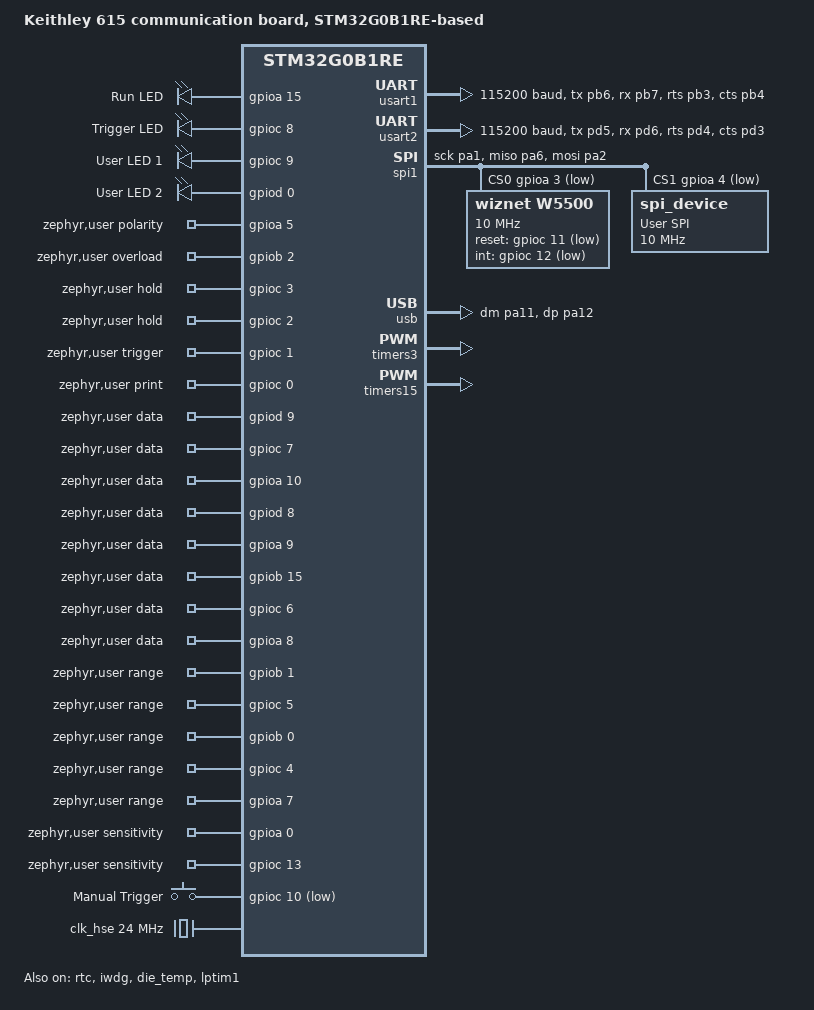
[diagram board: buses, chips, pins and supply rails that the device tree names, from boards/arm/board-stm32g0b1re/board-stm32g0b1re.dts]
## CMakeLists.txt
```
cmake_minimum_required(VERSION 3.20.0)

set(BOARD_ROOT ${CMAKE_CURRENT_SOURCE_DIR})

find_package(Zephyr REQUIRED HINTS $ENV{ZEPHYR_BASE})
project(keithley615-comm-app)

include_directories(${EXECUTABLE_NAME}
                    inc/)

target_sources(app PRIVATE
               src/main.c
               src/interface.c
               src/usb.c
               src/net.c)
```

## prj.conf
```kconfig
CONFIG_GPIO=y

# Generic networking options
CONFIG_NETWORKING=y
CONFIG_NET_IPV4=y
CONFIG_NET_IPV6=n
CONFIG_NET_UDP=y
CONFIG_NET_DHCPV4=y
CONFIG_NET_MGMT=y
CONFIG_NET_STATISTICS=y
CONFIG_NET_STATISTICS_ETHERNET=y
CONFIG_NET_STATISTICS_IPV4=y
# Sockets
CONFIG_NET_SOCKETS=y
# Logging
CONFIG_LOG=y
#CONFIG_LOG_OUTPUT_FORMAT_LINUX_TIMESTAMP=y
CONFIG_NET_LOG=y
# Network protocols
CONFIG_SNTP=y
# Net Init
#CONFIG_NET_CONFIG_NEED_IPV4=y
#CONFIG_NET_CONFIG_CLOCK_SNTP_INIT=y
#CONFIG_NET_CONFIG_SNTP_INIT_SERVER="129.6.15.29:123"

CONFIG_ENTROPY_GENERATOR=y
CONFIG_TEST_RANDOM_GENERATOR=y

# USB
CONFIG_USB_DEVICE_DRIVER=y
CONFIG_USB_DEVICE_STACK=y
CONFIG_USB_DEVICE_PRODUCT="Keithley 615 Interface"
CONFIG_USB_DEVICE_PID=0x0009
CONFIG_USB_DEVICE_LOG_LEVEL_ERR=y
CONFIG_USB_DRIVER_LOG_LEVEL_ERR=y
CONFIG_USB_DEVICE_INITIALIZE_AT_BOOT=n

CONFIG_POSIX_API=y

CONFIG_SHELL=y
CONFIG_NET_SHELL=y
```

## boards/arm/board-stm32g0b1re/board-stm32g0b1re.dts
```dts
/dts-v1/;
#include <st/g0/stm32g0b1Xe.dtsi>
#include <st/g0/stm32g0b1r(b-c-e)tx-pinctrl.dtsi>

/ {
	model = "Keithley 615 communication board, STM32G0B1RE-based";
	compatible = "st,stm32g0b1re-nucleo";

	chosen {
		zephyr,console = &usart1;
		zephyr,shell-uart = &usart1;
		zephyr,uart-mcumgr = &usart1;
		zephyr,sram = &sram0;
		zephyr,flash = &flash0;
		zephyr,code-partition = &slot0_partition;
	};

	leds {
		compatible = "gpio-leds";
		led_run {
			gpios = <&gpioa 15 GPIO_ACTIVE_HIGH>;
			label = "Run LED";
		};
		led_trigger {
			gpios = <&gpioc 8 GPIO_ACTIVE_HIGH>;
			label = "Trigger LED";
		};
		led_user1 {
			gpios = <&gpioc 9 GPIO_ACTIVE_HIGH>;
			label = "User LED 1";
		};
		led_user2 {
			gpios = <&gpiod 0 GPIO_ACTIVE_HIGH>;
			label = "User LED 2";
		};
	};

    /* Keithley 615 50-pin interface */
    /* TODO: Make separate device driver for this, so device-tree layout can
     * be cleaner. */
    zephyr,user {
        polarity-gpios    = <&gpioa  5 GPIO_ACTIVE_HIGH>;
        overload-gpios    = <&gpiob  2 GPIO_ACTIVE_HIGH>;
        hold-gpios        = <&gpioc  3 GPIO_ACTIVE_HIGH>,
                            <&gpioc  2 GPIO_ACTIVE_HIGH>;
        trigger-gpios     = <&gpioc  1 GPIO_ACTIVE_HIGH>;
        print-gpios       = <&gpioc  0 GPIO_ACTIVE_HIGH>;

        data-gpios        = <&gpiod  9 GPIO_ACTIVE_HIGH>,
                            <&gpioc  7 GPIO_ACTIVE_HIGH>,
                            <&gpioa 10 GPIO_ACTIVE_HIGH>,
                            <&gpiod  8 GPIO_ACTIVE_HIGH>,
                            <&gpioa  9 GPIO_ACTIVE_HIGH>,
                            <&gpiob 15 GPIO_ACTIVE_HIGH>,
                            <&gpioc  6 GPIO_ACTIVE_HIGH>,
                            <&gpioa  8 GPIO_ACTIVE_HIGH>,
                            <&gpiob 13 GPIO_ACTIVE_HIGH>,
                            <&gpiob 11 GPIO_ACTIVE_HIGH>,
                            <&gpiob 14 GPIO_ACTIVE_HIGH>,
                            <&gpiob 12 GPIO_ACTIVE_HIGH>,
                            <&gpiob 10 GPIO_ACTIVE_HIGH>;

        range-gpios       = <&gpiob  1 GPIO_ACTIVE_HIGH>,
                            <&gpioc  5 GPIO_ACTIVE_HIGH>,
                            <&gpiob  0 GPIO_ACTIVE_HIGH>,
                            <&gpioc  4 GPIO_ACTIVE_HIGH>,
                            <&gpioa  7 GPIO_ACTIVE_HIGH>;

        sensitivity-gpios = <&gpioa  0 GPIO_ACTIVE_HIGH>,
                            <&gpioc 13 GPIO_ACTIVE_HIGH>;
    };

	gpio_keys {
		compatible = "gpio-keys";
		button_trigger {
			label = "Manual Trigger";
			gpios = <&gpioc 10 GPIO_ACTIVE_LOW>;
		};
	};

	aliases {
		watchdog0 = &iwdg;
	};
};

uart_rs232: &usart1 {
	pinctrl-0 = <&usart1_tx_pb6  &usart1_rx_pb7
                 &usart1_rts_pb3 &usart1_cts_pb4>;
	pinctrl-names = "default";
	current-speed = <115200>;
    /* hw-flow-control */
	status = "okay";
};

uart_usb: &usart2 {
	pinctrl-0 = <&usart2_tx_pd5  &usart2_rx_pd6
                 &usart2_rts_pd4 &usart2_cts_pd3>;
	pinctrl-names = "default";
	current-speed = <115200>;
    /* hw-flow-control */
	status = "okay";
};

&spi1 {
	status = "okay";
	pinctrl-0 = <&spi1_sck_pa1 &spi1_miso_pa6 &spi1_mosi_pa2>;
	pinctrl-names = "default";
    cs-gpios = <&gpioa 3 GPIO_ACTIVE_LOW>, <&gpioa 4 GPIO_ACTIVE_LOW>;

    ethernet_w5500: w5500@0 {
        compatible = "wiznet,w5500";
        label = "w5500";
        reg = <0>;
        spi-max-frequency = <10000000>;
        reset-gpios = <&gpioc 11 GPIO_ACTIVE_LOW>;
        int-gpios   = <&gpioc 12 GPIO_ACTIVE_LOW>;

        /* Random test MAC address, made static for now for ease of packet sniffing */
        local-mac-address=[ 02 08 dc b0 6f df ];
        /*zephyr,random-mac-address;*/
    };

    user_spi: spi_device@1 {
        label = "User SPI";
        reg = <1>;
        spi-max-frequency = <10000000>;
    };
};

/*&i2c1 {
	status = "okay";
	pinctrl-0 = <&i2c1_scl_pb8 &i2c1_sda_pb9>;
	pinctrl-names = "default";

    user_i2c: i2c_device@0 {
        label = "User I2C";
        reg = <0x0>;
    };
};*/

zephyr_udc0: &usb {
	pinctrl-0 = <&usb_dm_pa11 &usb_dp_pa12>;
	pinctrl-names = "default";
    disconnect-gpios = <&gpiob 5 GPIO_ACTIVE_HIGH>;
	status = "okay";

    cdc_acm_uart0: cdc_acm_uart0 {
        compatible = "zephyr,cdc-acm-uart";
        label = "CDC_ACM_0";
    };
};

/*
 * Chip-internal devices follow
 */

&clk_hse {
	clock-frequency = <DT_FREQ_M(24)>;
	status = "okay";
};

&clk_hsi {
	status = "okay";
};

&clk_hsi48 {
	status = "okay";
};


&clk_lse {
	status = "okay";
};

&clk_lsi {
	status = "okay";
};


&pll {
	div-m = <1>;
	mul-n = <8>;
	div-p = <3>;
	div-q = <3>;
	div-r = <3>;
	clocks = <&clk_hse>;
	status = "okay";
};

&rcc {
	clocks = <&pll>;
	clock-frequency = <DT_FREQ_M(64)>;
	ahb-prescaler = <1>;
	apb1-prescaler = <1>;
};



&rtc {
	clocks = <&rcc STM32_CLOCK_BUS_APB1 0x00000400>,
		     <&rcc STM32_SRC_LSE RTC_SEL(1)>;
	status = "okay";
};

&iwdg {
	status = "okay";
};

&timers3 {
	st,prescaler = <10000>;
	status = "okay";
	pwm3: pwm {
		status = "okay";
		pinctrl-0 = <&tim3_ch1_pb4>;
		pinctrl-names = "default";
	};
};

&timers15 {
	st,prescaler = <10000>;
	status = "okay";
	pwm15: pwm {
		status = "okay";
		pinctrl-0 = <&tim15_ch1_pb14>;
		pinctrl-names = "default";
	};
};



&die_temp {
	status = "okay";
};

&flash0 {
	partitions {
		compatible = "fixed-partitions";
		#address-cells = <1>;
		#size-cells = <1>;

		boot_partition: partition@0 {
			label = "mcuboot";
			reg = <0x00000000 DT_SIZE_K(48)>;
			read-only;
		};
		slot0_partition: partition@C000 {
			label = "image-0";
			reg = <0x0000C000 DT_SIZE_K(200)>;
		};
		slot1_partition: partition@3E000 {
			label = "image-1";
			reg = <0x0003E000 DT_SIZE_K(200)>;
		};
		/* final 64KiB reserved for app storage partition */
		storage_partition: partition@70000 {
			label = "storage";
			reg = <0x00070000 DT_SIZE_K(64)>;
		};
	};
};

&cpu0 {
	cpu-power-states = <&stop0 &stop1>;
};

&lptim1 {
	clocks = <&rcc STM32_CLOCK_BUS_APB1 0x80000000>,
		 <&rcc STM32_SRC_LSI LPTIM1_SEL(1)>;
	status = "okay";
};
```

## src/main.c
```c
#include <zephyr/logging/log.h>
LOG_MODULE_REGISTER(keithley615_comm, LOG_LEVEL_DBG);

#include <zephyr/kernel.h>
#include <zephyr/drivers/gpio.h>

#include "interface.h"
#include "usb.h"

static const struct gpio_dt_spec led = GPIO_DT_SPEC_GET(DT_PATH(leds, led_run), gpios);


void main(void) {
    int ret;

    if (!gpio_is_ready_dt(&led)) {
        return;
    }

    ret = gpio_pin_configure_dt(&led, GPIO_OUTPUT_ACTIVE);
    if (ret < 0) {
        return;
    }

    LOG_INF("Keithley 615 network interface board");

    if(kei_interface_init()) {
        LOG_ERR("Interface failure");
    }

    //kei_usb_init();

#define SLEEP_TIME_MS (500)
    while(1) {
        /* TODO: Create separete thread, disable printing by default. */
        //kei_interface_print();

        ret = gpio_pin_toggle_dt(&led);
        if(ret < 0) {
            return;
        }

        k_msleep(SLEEP_TIME_MS);
    }
}
```

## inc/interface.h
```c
#ifndef KEI_INTERFACE_H
#define KEI_INTERFACE_H

#include <stdint.h>

#define KEI_DATAFLAG_OVERLOAD (1U << 0)

/* Manual states a maximum rate of 24 readings per second (may be slightly
 * lower on 50 Hz units). */
#define KEI_TRIG_PERIOD_MIN 42

/**< Mode the electrometer is in. This is not available via the 50-pin connector */
typedef enum {
    KEI_MODE_NONE  = 0,
    KEI_MODE_VOLTS,
    KEI_MODE_OHMS,
    KEI_MODE_COULOMBS,
    KEI_MODE_AMPERES,
    KEI_MODE_MAX
} kei_interface_mode_e;

typedef struct {
    int16_t value;       /**< Value of reading */
    uint8_t range;       /**< Current range (power) setting - absolute value*/
    uint8_t sensitivity; /**< Current sensitivity setting */
    uint8_t flags;       /**< Flags */
} kei_interface_rawdata_t;

typedef struct {
    int32_t value;       /**< Value of reading, in micro-units, not accounting for power */
    int8_t  range;       /**< Current range (power) setting */
    uint8_t flags;       /**< Flags */
} kei_interface_data_t;

typedef enum {
    KEI_TRIGMODE_NONE  = 0,
    KEI_TRIGMODE_FREERUNNING, /**< Instrument is allowed to trigger itself */
    KEI_TRIGMODE_PERIODIC,    /**< We periodically trigger the instrument */
    KEI_TRIGMODE_MANUAL,      /**< We only trigger the instrument when a read is requested */
    KEI_TRIGMODE_MAX
} kei_interface_trigmode_e;

/**
 * @brief Initialize interface GPIOs
 */
int kei_interface_init(void);

/**
 * @brief Print the data from the last electrometer reading
 */
int kei_interface_print(void);

/**
 * @brief Configure which mode the electrometer is set to
 *
 * This mode determines how values are interpreted, in particular the range value
 *
 * @param mode Mode to which the electrometer is set to
 */
int kei_interface_set_mode(kei_interface_mode_e mode);

/**
 * @brief Get most recent data received from the electrometer
 *
 * @param data Where to store data
 */
int kei_interface_get_data(kei_interface_data_t *data);

/**
 * @brief Set trigger mode
 *
 * @param mode Desired trigger mode
 */
int kei_interface_set_trigmode(kei_interface_trigmode_e mode);

/**
 * @brief Set trigger period (not applicable in free-running mode)
 *
 * @param period_ms Desired trigger period, in milliseconds, >= 42 ms
 */
int kei_interface_set_trigperiod(uint32_t period_ms);

#endif
```

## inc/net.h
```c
#ifndef KEI_NET_H
#define KEI_NET_H

/**
 * @brief Initialize network driver
 */
int kei_net_init(void);

/**
 * @brief Get address via DHCP
 */
int kei_net_getaddr(void);

#if (CONFIG_SNTP)
/**
 * @brief Get time via SNTP
 *
 * @param time_s Where to store retrieved time in seconds
 * @param time_us Where to store microsecond time offset, if desired
 */
int kei_net_sntp(time_t *time_s, unsigned *time_us);
#endif /* (CONFIG_SNTP) */

#endif
```

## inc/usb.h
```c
#ifndef KEI_USB_H
#define KEI_USB_H

int kei_usb_init(void);

#endif
```

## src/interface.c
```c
#include <ctype.h>
#include <stdlib.h>
#include <string.h>

#include <zephyr/drivers/gpio.h>
#include <zephyr/kernel.h>
#include <zephyr/logging/log.h>
#include <zephyr/shell/shell.h>

#include "interface.h"

LOG_MODULE_REGISTER(kei_int, LOG_LEVEL_DBG);

#define ZEPHYR_USER_NODE DT_PATH(zephyr_user)

#define N_DATA_BITS        13
#define N_RANGE_BITS        5
#define N_SENSITIVITY_BITS  2

static const struct {
    struct gpio_dt_spec polarity;
    struct gpio_dt_spec overload;
    struct gpio_dt_spec trigger;
    struct gpio_dt_spec print;
    struct gpio_dt_spec hold[2];

    struct gpio_dt_spec data_bcd       [N_DATA_BITS];
    struct gpio_dt_spec range_bcd      [N_RANGE_BITS];
    struct gpio_dt_spec sensitivity_bcd[N_SENSITIVITY_BITS];
} _int_gpios = {
    .polarity = GPIO_DT_SPEC_GET(ZEPHYR_USER_NODE, polarity_gpios),
    .overload = GPIO_DT_SPEC_GET(ZEPHYR_USER_NODE, overload_gpios),
    .trigger  = GPIO_DT_SPEC_GET(ZEPHYR_USER_NODE, trigger_gpios),
    .print    = GPIO_DT_SPEC_GET(ZEPHYR_USER_NODE, print_gpios),
    .hold     = {
        GPIO_DT_SPEC_GET_BY_IDX(ZEPHYR_USER_NODE, hold_gpios, 0),
        GPIO_DT_SPEC_GET_BY_IDX(ZEPHYR_USER_NODE, hold_gpios, 1)
    },
    .data_bcd      = {
        GPIO_DT_SPEC_GET_BY_IDX(ZEPHYR_USER_NODE, data_gpios,  0),
        GPIO_DT_SPEC_GET_BY_IDX(ZEPHYR_USER_NODE, data_gpios,  1),
        GPIO_DT_SPEC_GET_BY_IDX(ZEPHYR_USER_NODE, data_gpios,  2),
        GPIO_DT_SPEC_GET_BY_IDX(ZEPHYR_USER_NODE, data_gpios,  3),
        GPIO_DT_SPEC_GET_BY_IDX(ZEPHYR_USER_NODE, data_gpios,  4),
        GPIO_DT_SPEC_GET_BY_IDX(ZEPHYR_USER_NODE, data_gpios,  5),
        GPIO_DT_SPEC_GET_BY_IDX(ZEPHYR_USER_NODE, data_gpios,  6),
        GPIO_DT_SPEC_GET_BY_IDX(ZEPHYR_USER_NODE, data_gpios,  7),
        GPIO_DT_SPEC_GET_BY_IDX(ZEPHYR_USER_NODE, data_gpios,  8),
        GPIO_DT_SPEC_GET_BY_IDX(ZEPHYR_USER_NODE, data_gpios,  9),
        GPIO_DT_SPEC_GET_BY_IDX(ZEPHYR_USER_NODE, data_gpios, 10),
        GPIO_DT_SPEC_GET_BY_IDX(ZEPHYR_USER_NODE, data_gpios, 11),
        GPIO_DT_SPEC_GET_BY_IDX(ZEPHYR_USER_NODE, data_gpios, 12)
    },
    .range_bcd      = {
        GPIO_DT_SPEC_GET_BY_IDX(ZEPHYR_USER_NODE, range_gpios,  0),
        GPIO_DT_SPEC_GET_BY_IDX(ZEPHYR_USER_NODE, range_gpios,  1),
        GPIO_DT_SPEC_GET_BY_IDX(ZEPHYR_USER_NODE, range_gpios,  2),
        GPIO_DT_SPEC_GET_BY_IDX(ZEPHYR_USER_NODE, range_gpios,  3),
        GPIO_DT_SPEC_GET_BY_IDX(ZEPHYR_USER_NODE, range_gpios,  4)
    },
    .sensitivity_bcd      = {
        GPIO_DT_SPEC_GET_BY_IDX(ZEPHYR_USER_NODE, sensitivity_gpios,  0),
        GPIO_DT_SPEC_GET_BY_IDX(ZEPHYR_USER_NODE, sensitivity_gpios,  1),
    }
};


static struct {
    kei_interface_rawdata_t last_sample;    /**< Last sample received from instrument */
    kei_interface_mode_e    mode;           /**< Current instrument mode/units */

    struct {
        kei_interface_trigmode_e mode;      /**< Current trigger mode */
        uint32_t                 period_ms; /**< Trigger period, in ms, when using periodic trigger */
    } trig;

    struct gpio_callback print_gpio_callback;

    struct k_thread  thread;

    struct k_condvar data_ready_cond;
    struct k_mutex   data_ready_mutex;
} _data;

static int kei_interface_trigger(int wait);

/**
 * @brief Read a whole value given a set of BCD inputs
 */
static int _bcd_read(const struct gpio_dt_spec *gpios, int count) {
    unsigned value = 0;
    unsigned mul   = 1;
    while(count) {
        for(unsigned bit = 0; (bit < 4) && count; bit++, count--, gpios++) {
            int pin = gpio_pin_get_dt(gpios);
            if(pin < 0) {
                return -1;
            } else if(pin) {
                value += (1U << bit) * mul;
            }
        }
        mul *= 10;
    }
    return value;
}

/**
 * @brief Callback for print line going low
 */
static void _print_callback(const struct device *dev, struct gpio_callback *cb, uint32_t pins) {
    int data        = _bcd_read(_int_gpios.data_bcd,        N_DATA_BITS);
    int range       = _bcd_read(_int_gpios.range_bcd,       N_RANGE_BITS);
    int sensitivity = _bcd_read(_int_gpios.sensitivity_bcd, N_SENSITIVITY_BITS);

    if((data < 0) || (range < 0) || (sensitivity < 0)) {
        return;
    }

    if(gpio_pin_get_dt(&_int_gpios.polarity) == 1) {
        data *= -1;
    }

    _data.last_sample.value       = data;
    _data.last_sample.range       = range;
    _data.last_sample.sensitivity = sensitivity;
    _data.last_sample.flags       = 0;
    if(gpio_pin_get_dt(&_int_gpios.overload) == 1) {
        _data.last_sample.flags  |= KEI_DATAFLAG_OVERLOAD;
    }

    /* TODO: Timestamp sample */

    k_condvar_signal(&_data.data_ready_cond);
}

K_THREAD_STACK_DEFINE(_kei_thread_stack, 1024);
static void _kei_thread_main(void *p1, void *p2, void *p3);

int kei_interface_init(void) {
    memset(&_data, 0, sizeof(_data));

    _data.trig.mode      = KEI_TRIGMODE_FREERUNNING;
    _data.trig.period_ms = 1000;

    k_condvar_init(&_data.data_ready_cond);
    k_mutex_init(&_data.data_ready_mutex);

    if(gpio_pin_configure_dt(&_int_gpios.polarity, GPIO_INPUT)           ||
       gpio_pin_configure_dt(&_int_gpios.overload, GPIO_INPUT)           ||
       gpio_pin_configure_dt(&_int_gpios.trigger,  GPIO_OUTPUT_INACTIVE) ||
       gpio_pin_configure_dt(&_int_gpios.print,    GPIO_INPUT)           ||
       gpio_pin_configure_dt(&_int_gpios.hold[0],  GPIO_OUTPUT_INACTIVE) ||
       gpio_pin_configure_dt(&_int_gpios.hold[1],  GPIO_OUTPUT_INACTIVE)) {
        return -1;
    }

    for(unsigned i = 0; i < N_DATA_BITS; i++) {
        if(gpio_pin_configure_dt(&_int_gpios.data_bcd[i], GPIO_INPUT)) {
            return -1;
        }
    }
    for(unsigned i = 0; i < N_RANGE_BITS; i++) {
        if(gpio_pin_configure_dt(&_int_gpios.range_bcd[i], GPIO_INPUT)) {
            return -1;
        }
    }
    for(unsigned i = 0; i < N_SENSITIVITY_BITS; i++) {
        if(gpio_pin_configure_dt(&_int_gpios.sensitivity_bcd[i], GPIO_INPUT)) {
            return -1;
        }
    }

    LOG_INF("GPIOs initialized");


    if(gpio_pin_interrupt_configure_dt(&_int_gpios.print, GPIO_INT_EDGE_TO_INACTIVE)) {
        LOG_ERR("Failed to enable interrupts for print pin.");
        return -1;
    }

	gpio_init_callback(&_data.print_gpio_callback, _print_callback, BIT(_int_gpios.print.pin));
	if(gpio_add_callback(_int_gpios.print.port, &_data.print_gpio_callback)) {
        LOG_ERR("Failed to add callback for print pin.");
        return -1;
    }

    LOG_INF("Print interrupt enabled");

    k_thread_create(&_data.thread, _kei_thread_stack, K_THREAD_STACK_SIZEOF(_kei_thread_stack),
                    _kei_thread_main, NULL, NULL, NULL, 6, 0, K_NO_WAIT);

    return 0;
}


static void _kei_thread_main(void *p1, void *p2, void *p3) {
    ARG_UNUSED(p1);
    ARG_UNUSED(p2);
    ARG_UNUSED(p3);

    LOG_INF("KEI thread start");

    int64_t next_trig = 0;

    while(1) {
        if(_data.trig.mode == KEI_TRIGMODE_PERIODIC) {
            int64_t ticks = k_uptime_ticks();
            if(ticks >= next_trig) {
                kei_interface_trigger(0);
                next_trig = next_trig + ((_data.trig.period_ms * CONFIG_SYS_CLOCK_TICKS_PER_SEC) / 1000);
                if(ticks >= next_trig) {
                    next_trig = ticks + ((_data.trig.period_ms * CONFIG_SYS_CLOCK_TICKS_PER_SEC) / 1000);
                }
            }

            k_sleep(K_TICKS(next_trig - ticks));
        } else {
            k_msleep(1000);
        }
    }
}

static const char *_unit_str[KEI_MODE_MAX] = {
    [KEI_MODE_NONE]     = "U",
    [KEI_MODE_VOLTS]    = "V",
    [KEI_MODE_OHMS]     = "ohms",
    [KEI_MODE_COULOMBS] = "C",
    [KEI_MODE_AMPERES]  = "A"
};


#define ABS(V) (((V) < 0) ? -(V) : (V))
int kei_interface_print(void) {
    kei_interface_data_t data;
    if (kei_interface_get_data(&data)) {
        return -1;
    }
    if(data.flags & KEI_DATAFLAG_OVERLOAD) {
        LOG_INF("data: OVERLOAD");
        return 0;
    }

    unsigned whole = ABS(data.value) / 1000000;
    unsigned frac  = (ABS(data.value) % 1000000) / 100;

    /* NOTE: If -1 < value < 0, the sign will not be present in the whole,
     * so we instead just print it explicitly. Avoiding floating-points to
     * ensure accuracy. Could also just print it as milli-whatever instead.
     * Could also use the polarity bit directly as a flag, to also enable
     * negative zero. */
    LOG_INF("data: %c%03u.%04u x 10^%+02hhd %s",
            (data.value < 0) ? '-' : '+',
            whole, frac, data.range,
            _unit_str[_data.mode]);

    return 0;
}

int kei_interface_set_mode(kei_interface_mode_e mode) {
    if(mode >= KEI_MODE_MAX) {
        return -1;
    }

    _data.mode = mode;

    return 0;
}

/**
 * @brief Trigger a reading
 *
 * @param wait If non-zero, wait for data to come in before returning
 */
static int kei_interface_trigger(int wait) {
    if(_data.trig.mode == KEI_TRIGMODE_FREERUNNING) {
        return -1;
    }

    if(gpio_pin_set_dt(&_int_gpios.trigger, 1)) {
        return -1;
    }

    k_usleep(100);

    if(gpio_pin_set_dt(&_int_gpios.trigger, 0)) {
        return -1;
    }

    if (wait) {
        if(k_mutex_lock(&_data.data_ready_mutex, K_MSEC(100))) {
            return -1;
        }

        if (k_condvar_wait(&_data.data_ready_cond, &_data.data_ready_mutex, K_MSEC(50))) {
            k_mutex_unlock(&_data.data_ready_mutex);
            return -1;
        }

        k_mutex_unlock(&_data.data_ready_mutex);
    }

    return 0;
}

int kei_interface_get_data(kei_interface_data_t *data) {
    if(!data) {
        return -1;
    }

    if(_data.trig.mode == KEI_TRIGMODE_MANUAL) {
        if(kei_interface_trigger(1)) {
            return -1;
        }
    }

    /* TODO: Ensure raw data doesn't get overwritted while we are reading it */
    memset(data, 0, sizeof(*data));

    /* NOTE: Currently all flags that apply to rawdata apply to data as well */
    data->flags = _data.last_sample.flags;

    if(data->flags & KEI_DATAFLAG_OVERLOAD) {
        return 0;
    }

    unsigned value = ABS(_data.last_sample.value);

    /* Convert base value to micro-units */
    value *= 100; /* Least-significant digit at sensitivity 0 is 100 micro-units */
    for(unsigned i = _data.last_sample.sensitivity; i > 0; i--) {
        value *= 10;
    }
    data->value = (_data.last_sample.value >= 0) ? value : -value;

    /* Determine sign power based on current mode */
    switch(_data.mode) {
        case KEI_MODE_VOLTS:
        case KEI_MODE_OHMS:
            data->range = _data.last_sample.range;
            break;
        case KEI_MODE_NONE:
        case KEI_MODE_COULOMBS:
        case KEI_MODE_AMPERES:
            data->range = -_data.last_sample.range;
            break;
    }

    return 0;
}

int kei_interface_set_trigmode(kei_interface_trigmode_e mode) {
    if((mode <= KEI_TRIGMODE_NONE) || (mode >= KEI_TRIGMODE_MAX)) {
        return -1;
    }

    if(mode == KEI_TRIGMODE_FREERUNNING) {
        if(gpio_pin_set_dt(&_int_gpios.trigger, 0) ||
           gpio_pin_set_dt(&_int_gpios.hold[0], 0) ||
           gpio_pin_set_dt(&_int_gpios.hold[1], 0)) {
            return -1;
        }
    } else {
        /* Need some more testing to determine whether to use hold 1, 2, or both */
        if(gpio_pin_set_dt(&_int_gpios.trigger, 0) ||
           gpio_pin_set_dt(&_int_gpios.hold[0], 0) ||
           gpio_pin_set_dt(&_int_gpios.hold[1], 1)) {
            return -1;
        }
    }

    _data.trig.mode = mode;

    return 0;
}

int kei_interface_set_trigperiod(uint32_t period_ms) {
    if(period_ms < KEI_TRIG_PERIOD_MIN) {
        return -1;
    }

    if(_data.trig.mode == KEI_TRIGMODE_FREERUNNING) {
        return -1;
    }

    _data.trig.period_ms = period_ms;

    return 0;
}



/*
 * COMMAND HANDLERS
 */

static int _cmdhdlr_kei_read(const struct shell *sh, size_t argc, char **argv);
static int _cmdhdlr_kei_mode(const struct shell *sh, size_t argc, char **argv);
static int _cmdhdlr_kei_trig_mode(const struct shell *sh, size_t argc, char **argv);
static int _cmdhdlr_kei_trig_period(const struct shell *sh, size_t argc, char **argv);

SHELL_STATIC_SUBCMD_SET_CREATE(_subcmd_kei_trig,
    SHELL_CMD(mode, NULL, "Get/set trigger mode\n"
                          "  F: Free-running, P: Periodic, M: Manual",
                          _cmdhdlr_kei_trig_mode),
    SHELL_CMD(period, NULL, "Get/set trigger period",
                            _cmdhdlr_kei_trig_period),
    SHELL_SUBCMD_SET_END
);

SHELL_STATIC_SUBCMD_SET_CREATE(_subcmd_kei,
    SHELL_CMD(read, NULL, "Get and display a reading from the instrument",
                          _cmdhdlr_kei_read),
    SHELL_CMD(mode, NULL, "Get/set electrometer mode\n"
                          "  V: Volts, O: Ohms, C: Coulombs, A: Amperes",
                          _cmdhdlr_kei_mode),
    SHELL_CMD(trig, &_subcmd_kei_trig, "Trigger config sub-commands", NULL),
    SHELL_SUBCMD_SET_END
);

SHELL_CMD_REGISTER(kei, &_subcmd_kei, "Electrometer subcommands", NULL);

static int _cmdhdlr_kei_read(const struct shell *sh, size_t argc, char **argv) {
    ARG_UNUSED(argv);

    if(argc != 1) {
        shell_print(sh, "This command does not expect any arguments");
        return -1;
    }

    kei_interface_data_t data;
    if (kei_interface_get_data(&data)) {
        return -1;
    }
    if(data.flags & KEI_DATAFLAG_OVERLOAD) {
        shell_print(sh, "OVERLOAD");
        return 0;
    }

    unsigned whole = ABS(data.value) / 1000000;
    unsigned frac  = (ABS(data.value) % 1000000) / 100;

    /* NOTE: If -1 < value < 0, the sign will not be present in the whole,
     * so we instead just print it explicitly. Avoiding floating-points to
     * ensure accuracy. Could also just print it as milli-whatever instead.
     * Could also use the polarity bit directly as a flag, to also enable
     * negative zero. */
    shell_print(sh, "%c%03u.%04u x 10^%+02hhd %s",
                (data.value < 0) ? '-' : '+',
                whole, frac, data.range,
                _unit_str[_data.mode]);

    return 0;
}

static const char *_mode_stringify(kei_interface_mode_e mode) {
    switch(mode) {
        case KEI_MODE_NONE:
            return "None";
        case KEI_MODE_VOLTS:
            return "Volts";
        case KEI_MODE_OHMS:
            return "Ohms";
        case KEI_MODE_COULOMBS:
            return "Coulombs";
        case KEI_MODE_AMPERES:
            return "Amperes";
        default:
            return "Invalid";
    }
}

static int _cmdhdlr_kei_mode(const struct shell *sh, size_t argc, char **argv) {
    if(argc == 1) {
        shell_print(sh, "Current mode: %s (%d)", _mode_stringify(_data.mode), _data.mode);
    } else if(argc == 2) {
        if(strlen(argv[1]) > 1) {
            shell_print(sh, "Unsupported value for mode");
            return -1;
        }
        switch(argv[1][0]) {
            case 'V':
                _data.mode = KEI_MODE_VOLTS;
                break;
            case 'O':
                _data.mode = KEI_MODE_OHMS;
                break;
            case 'C':
                _data.mode = KEI_MODE_COULOMBS;
                break;
            case 'A':
                _data.mode = KEI_MODE_AMPERES;
                break;
            default:
                shell_print(sh, "Unsupported value for mode");
                return -1;
        }
    } else {
        shell_print(sh, "Too many arguments!");
        return -1;
    }

    return 0;
}

static const char *_trigmode_stringify(kei_interface_trigmode_e mode) {
    switch(mode) {
        case KEI_TRIGMODE_FREERUNNING:
            return "free-running";
        case KEI_TRIGMODE_PERIODIC:
            return "periodic";
        case KEI_TRIGMODE_MANUAL:
            return "manual";
        default:
            return "invalid";
    }
}

static int _cmdhdlr_kei_trig_mode(const struct shell *sh, size_t argc, char **argv) {
    if(argc == 1) {
        shell_print(sh, "Current trigger mode: %s (%d)",
                    _trigmode_stringify(_data.trig.mode), _data.trig.mode);
    } else if(argc == 2) {
        if(strlen(argv[1]) > 1) {
            shell_print(sh, "Unsupported value for mode");
            return -1;
        }

        kei_interface_trigmode_e mode;

        switch(argv[1][0]) {
            case 'F':
                mode = KEI_TRIGMODE_FREERUNNING;
                break;
            case 'P':
                mode = KEI_TRIGMODE_PERIODIC;
                break;
            case 'M':
                mode = KEI_TRIGMODE_MANUAL;
                break;
            default:
                shell_print(sh, "Unsupported value for mode");
                return -1;
        }

        if(kei_interface_set_trigmode(mode)) {
            return -1;
        }
    } else {
        shell_print(sh, "Too many arguments!");
        return -1;
    }

    return 0;
}

static int _cmdhdlr_kei_trig_period(const struct shell *sh, size_t argc, char **argv) {
    if(_data.trig.mode != KEI_TRIGMODE_PERIODIC) {
        shell_print(sh, "Only valid in periodic mode");
        return -1;
    }

    if(argc == 1) {
        shell_print(sh, "Current trigger period: %u ms", _data.trig.period_ms);
    } else if(argc == 2) {
        if(!isdigit(argv[1][0])) {
            shell_print(sh, "Period must be a number");
        }

        unsigned period_ms = strtoul(argv[1], NULL, 10);
        if(period_ms < KEI_TRIG_PERIOD_MIN) {
            shell_print(sh, "Period cannot be lower than %u", KEI_TRIG_PERIOD_MIN);
            return -1;
        }

        if (kei_interface_set_trigperiod(period_ms)) {
            return -1;
        }
    } else {
        shell_print(sh, "Too many arguments!");
        return -1;
    }

    return 0;
}
```

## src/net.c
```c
#include <zephyr/kernel.h>
#include <zephyr/logging/log.h>
#include <zephyr/net/net_core.h>
#include <zephyr/net/net_context.h>
#include <zephyr/net/net_if.h>
#include <zephyr/net/net_mgmt.h>
#include <zephyr/net/sntp.h>
#include <zephyr/shell/shell.h>

#include <time.h>

#include "net.h"

LOG_MODULE_REGISTER(kei_net);

static struct net_mgmt_event_callback _mgmt_cb;
K_CONDVAR_DEFINE(_net_ready_cond);
K_MUTEX_DEFINE(_net_ready_mutex);

struct net_if *_net_iface;

static void _net_ev_handler(struct net_mgmt_event_callback *cb, uint32_t mgmt_event, struct net_if *iface) {
    int i = 0;

    if (mgmt_event != NET_EVENT_IPV4_ADDR_ADD) {
        return;
    }

    for (i = 0; i < NET_IF_MAX_IPV4_ADDR; i++) {
        char buf[NET_IPV4_ADDR_LEN];

        if (iface->config.ip.ipv4->unicast[i].addr_type !=
                            NET_ADDR_DHCP) {
            continue;
        }

        LOG_INF("Your address: %s",
                net_addr_ntop(AF_INET,
                              &iface->config.ip.ipv4->unicast[i].address.in_addr,
                              buf, sizeof(buf)));
        LOG_INF("Lease time: %u seconds", iface->config.dhcpv4.lease_time);
        LOG_INF("Subnet: %s",
                net_addr_ntop(AF_INET,
                              &iface->config.ip.ipv4->netmask,
                              buf, sizeof(buf)));
        LOG_INF("Router: %s",
                net_addr_ntop(AF_INET,
                              &iface->config.ip.ipv4->gw,
                              buf, sizeof(buf)));

        k_condvar_signal(&_net_ready_cond);
    }
}

static void _net_thread_main(void *p1, void *p2, void *p3) {
    (void)p1; (void)p2; (void)p3;

    LOG_INF("Init");

    net_mgmt_init_event_callback(&_mgmt_cb, _net_ev_handler, NET_EVENT_IPV4_ADDR_ADD);
    net_mgmt_add_event_callback(&_mgmt_cb);
    
    _net_iface = net_if_get_default();
    if(_net_iface == NULL) {
        LOG_ERR("Net init failre");
        return;
    }
    
    if(kei_net_getaddr()) {
        LOG_ERR("Net failure");
        return;
    }

#if (CONFIG_SNTP)
    time_t   time_s;
    unsigned time_us;
    
    if (kei_net_sntp(&time_s, &time_us)) {
        LOG_ERR("SNTP failure");
        goto main_sntp_end;
    } else {
        LOG_INF("UNIX time: %llu.%06u", time_s, time_us);
    
        struct tm *time = gmtime(&time_s);
        if(time) {
            LOG_INF("UTC: %04d-%02d-%02dT%02d:%02d:%02d",
                    time->tm_year + 1900, time->tm_mon + 1, time->tm_mday,
                    time->tm_hour, time->tm_min, time->tm_sec);
        }

        struct timespec ts = {
            .tv_sec  = time_s,
            .tv_nsec = time_us * 1000
        };
        if (clock_settime(CLOCK_REALTIME, &ts)) {
            LOG_ERR("Failed to set system time");
        } else {
            LOG_INF("System time set");
        }
    }

main_sntp_end:
#endif /* (CONFIG_SNTP) */

    while(1) {
        k_msleep(1000);
    }
}
static K_THREAD_DEFINE(kei_net, 1536, _net_thread_main, NULL, NULL, NULL, 7, 0, 500);

int kei_net_getaddr(void) {
    LOG_INF("Starting DHCP");

    net_dhcpv4_start(_net_iface);
    
    /* DHCP is sometimes taking over a minute to complete. Not sure if this is
     * a network issue, or a hardware issue (though lack of packet errors seems
     * to show that it is not hardware related). */
    if(k_condvar_wait(&_net_ready_cond, &_net_ready_mutex, K_MSEC(300000))) {
        LOG_ERR("DHCP failed");
        return -1;
    }

    LOG_INF("DHCP completed");

    return 0;
}

#if (CONFIG_SNTP)
int kei_net_sntp(time_t *time_s, unsigned *time_us) {
    int ret = 0;

    struct sntp_ctx    sntp;
    struct sntp_time   sntp_time;
    struct sockaddr_in sntp_addr;

    /* TODO: Make configurable */
#  define NTP_PORT 123
#  define NTP_ADDR "129.6.15.29"

    sntp_addr.sin_family = AF_INET;
    sntp_addr.sin_port   = htons(NTP_PORT);
    net_addr_pton(AF_INET, NTP_ADDR, &sntp_addr.sin_addr);

    ret = sntp_init(&sntp, (struct sockaddr *)&sntp_addr, sizeof(sntp_addr));
    if(ret < 0) {
        LOG_ERR("SNTP init failed: %d", ret);
        goto sntp_end;
    }

    int attempts = 0;
    while(++attempts < 6) {
        LOG_INF("Querying SNTP");
        ret = sntp_query(&sntp, 5000, &sntp_time);
        if(ret < 0) {
            LOG_ERR("SNTP request failed: %d", ret);
        } else {
            break;
        }
    }
    if(attempts == 6) {
        goto sntp_end;
    }

    LOG_INF("SNTP complete");

    if(time_s) {
        *time_s  = (time_t)sntp_time.seconds;
    }
    if(time_us) {
        *time_us = (unsigned)(((float)sntp_time.fraction * 1000000) / ((1ULL << 32) - 1));
    }

sntp_end:
    sntp_close(&sntp);

    return ret;
}
#endif /* (CONFIG_SNTP) */

static int _cmdhdlr_net_info(const struct shell *sh, size_t argc, char **argv);

SHELL_STATIC_SUBCMD_SET_CREATE(_subcmd_net,
    SHELL_CMD(info, NULL, "Print network info.", _cmdhdlr_net_info),
    SHELL_SUBCMD_SET_END
);

SHELL_CMD_REGISTER(kei_net, &_subcmd_net, "Network subcommands", NULL);

static int _cmdhdlr_net_info(const struct shell *sh, size_t argc, char **argv) {
    ARG_UNUSED(argc);
    ARG_UNUSED(argv);

    shell_print(sh, "test");

    return 0;
}
```

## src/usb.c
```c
#include <zephyr/logging/log.h>
#include <zephyr/usb/usb_device.h>

LOG_MODULE_REGISTER(kei_usb);

int kei_usb_init(void) {
    if(usb_enable(NULL)) {
        LOG_ERR("Failed to init USB");
        return -1;
    }

    LOG_INF("USB init done");

    return 0;
}
```
